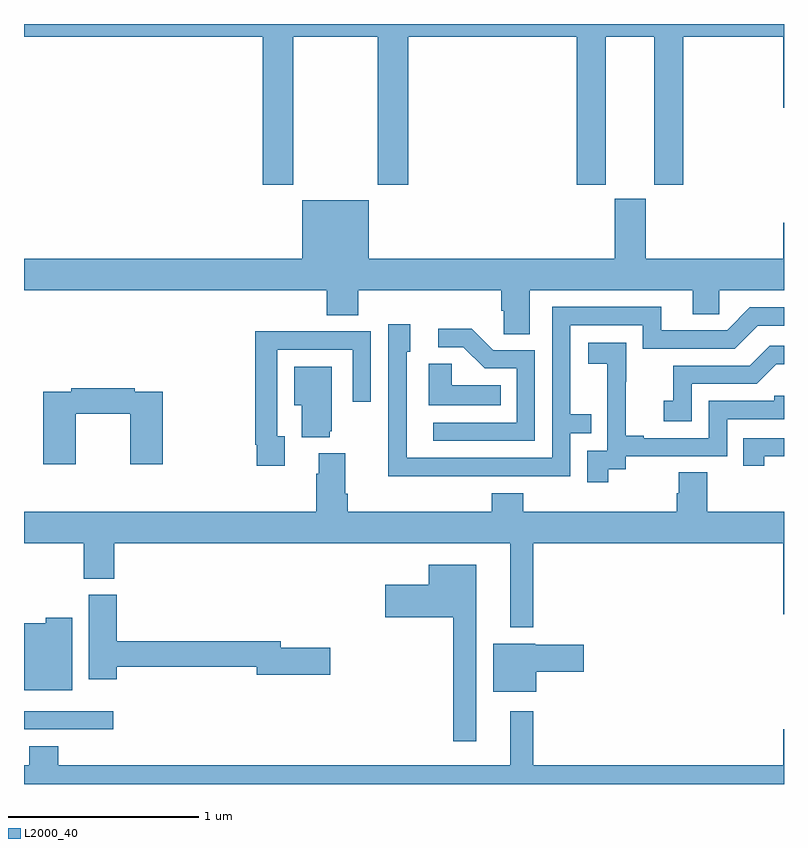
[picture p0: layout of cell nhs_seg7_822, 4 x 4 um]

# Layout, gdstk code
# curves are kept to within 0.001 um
import gdstk
lib = gdstk.Library(unit=1e-6, precision=1e-09)
def R(c, l, rs):  # rectangles x0, y0, x1, y1
    for r in rs: c.add(gdstk.rectangle(r[:2], r[2:], *l))
def P(c, l, *ps):  # polygons
    for p in ps: c.add(gdstk.Polygon(p, *l))
L2000_40 = (2000, 40)

nhs_seg7_822 = lib.new_cell('nhs_seg7_822')
R(nhs_seg7_822, L2000_40, [(173,1014.288,173.47,1014.384)])
P(nhs_seg7_822, L2000_40, [(174.417,1017.932),(174.862,1017.932),(174.862,1017.153),(175.022,1017.153),(175.022,1017.932),(175.91,1017.932),(175.91,1017.153),(176.062,1017.153),(176.062,1017.932),(176.318,1017.932),(176.318,1017.153),(176.471,1017.153),(176.471,1017.932),(176.996,1017.932),(176.996,1017.558),(177,1017.558),(177,1018),(173,1018),(173,1017.932),(174.257,1017.932),(174.257,1017.153),(174.417,1017.153)],
  [(175.663,1016.6),(176.519,1016.6),(176.519,1016.473),(176.658,1016.473),(176.658,1016.6),(177,1016.6),(177,1016.953),(176.996,1016.953),(176.996,1016.764),(176.272,1016.764),(176.272,1017.081),(176.108,1017.081),(176.108,1016.764),(174.814,1016.764),(174.814,1017.073),(174.464,1017.073),(174.464,1016.764),(173,1016.764),(173,1016.6),(174.593,1016.6),(174.593,1016.467),(174.758,1016.467),(174.758,1016.6),(175.511,1016.6),(175.511,1016.491),(175.524,1016.491),(175.524,1016.368),(175.663,1016.368)],
  [(175.379,1015.62),(175.875,1015.62),(175.875,1015.845),(175.985,1015.845),(175.985,1015.946),(175.875,1015.946),(175.875,1016.415),(176.256,1016.415),(176.256,1016.292),(176.742,1016.292),(176.862,1016.412),(177,1016.412),(177,1016.508),(176.82,1016.508),(176.7,1016.388),(176.353,1016.388),(176.353,1016.511),(175.779,1016.511),(175.779,1015.716),(175.014,1015.716),(175.014,1016.274),(175.033,1016.274),(175.033,1016.419),(174.918,1016.419),(174.918,1015.925),(174.916,1015.925),(174.916,1015.619)],
  [(175.689,1016.283),(175.47,1016.283),(175.357,1016.396),(175.179,1016.396),(175.179,1016.298),(175.313,1016.298),(175.424,1016.187),(175.593,1016.187),(175.593,1015.902),(175.155,1015.902),(175.155,1015.806),(175.689,1015.806)],
  [(174.373,1015.83),(174.333,1015.83),(174.333,1016.286),(174.729,1016.286),(174.729,1016.013),(174.825,1016.013),(174.825,1016.382),(174.509,1016.382),(174.509,1016.384),(174.217,1016.384),(174.217,1015.786),(174.225,1015.786),(174.225,1015.674),(174.373,1015.674)],
  [(176.074,1015.657),(176.166,1015.657),(176.166,1015.725),(176.7,1015.725),(176.7,1015.92),(177,1015.92),(177,1016.043),(176.949,1016.043),(176.949,1016.016),(176.604,1016.016),(176.604,1015.821),(176.263,1015.821),(176.263,1015.834),(176.168,1015.834),(176.168,1016.117),(176.169,1016.117),(176.169,1016.323),(175.971,1016.323),(175.971,1016.213),(176.069,1016.213),(176.069,1015.985),(176.07,1015.985),(176.07,1015.755),(175.965,1015.755),(175.965,1015.587),(176.074,1015.587)],
  [(176.514,1016.106),(176.856,1016.106),(176.96,1016.21),(177,1016.21),(177,1016.307),(176.924,1016.307),(176.819,1016.202),(176.416,1016.202),(176.416,1016.017),(176.367,1016.017),(176.367,1015.908),(176.514,1015.908)],
  [(175.508,1016.098),(175.251,1016.098),(175.251,1016.213),(175.13,1016.213),(175.13,1015.994),(175.508,1015.994)],
  [(174.608,1015.857),(174.619,1015.857),(174.619,1016.197),(174.422,1016.197),(174.422,1015.994),(174.461,1015.994),(174.461,1015.826),(174.608,1015.826)],
  [(173.272,1015.948),(173.558,1015.948),(173.558,1015.683),(173.729,1015.683),(173.729,1016.064),(173.582,1016.064),(173.582,1016.084),(173.248,1016.084),(173.248,1016.064),(173.102,1016.064),(173.102,1015.683),(173.272,1015.683)],
  [(176.896,1015.725),(177,1015.725),(177,1015.821),(176.785,1015.821),(176.785,1015.674),(176.896,1015.674)],
  [(175.681,1015.268),(176.996,1015.268),(176.996,1014.894),(177,1014.894),(177,1015.432),(176.595,1015.432),(176.595,1015.64),(176.447,1015.64),(176.447,1015.53),(176.435,1015.53),(176.435,1015.432),(175.628,1015.432),(175.628,1015.531),(175.463,1015.531),(175.463,1015.432),(174.704,1015.432),(174.704,1015.528),(174.691,1015.528),(174.691,1015.741),(174.551,1015.741),(174.551,1015.634),(174.539,1015.634),(174.539,1015.432),(173,1015.432),(173,1015.268),(173.314,1015.268),(173.314,1015.081),(173.474,1015.081),(173.474,1015.268),(175.559,1015.268),(175.559,1014.824),(175.681,1014.824)],
  [(175.381,1015.153),(175.13,1015.153),(175.13,1015.048),(174.9,1015.048),(174.9,1014.878),(175.26,1014.878),(175.26,1014.225),(175.381,1014.225)],
  [(173.489,1014.616),(174.224,1014.616),(174.224,1014.574),(174.613,1014.574),(174.613,1014.716),(174.352,1014.716),(174.352,1014.752),(173.489,1014.752),(173.489,1014.996),(173.342,1014.996),(173.342,1014.552),(173.489,1014.552)],
  [(173.254,1014.874),(173.115,1014.874),(173.115,1014.847),(173,1014.847),(173,1014.494),(173.254,1014.494)],
  [(175.696,1014.592),(175.945,1014.592),(175.945,1014.734),(175.692,1014.734),(175.692,1014.739),(175.469,1014.739),(175.469,1014.485),(175.696,1014.485)],
  [(177,1014.289),(176.996,1014.289),(176.996,1014.1),(175.681,1014.1),(175.681,1014.382),(175.559,1014.382),(175.559,1014.1),(173.18,1014.1),(173.18,1014.199),(173.027,1014.199),(173.027,1014.1),(173,1014.1),(173,1014),(177,1014)])

lib.write_gds('nhs_seg7_822.gds')
